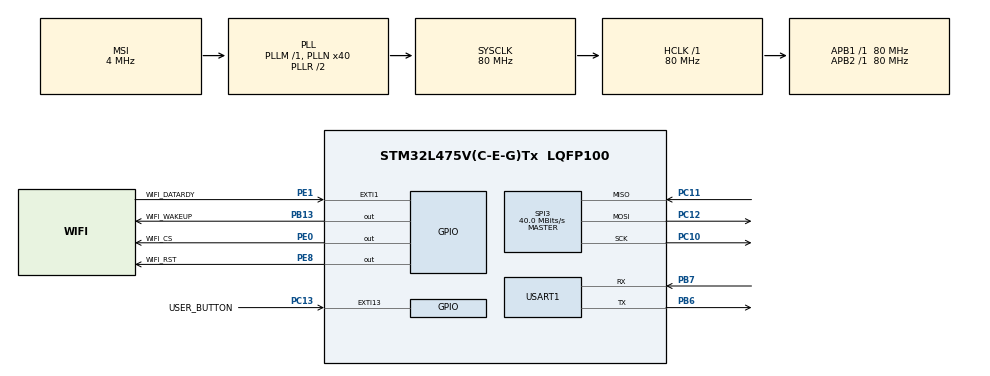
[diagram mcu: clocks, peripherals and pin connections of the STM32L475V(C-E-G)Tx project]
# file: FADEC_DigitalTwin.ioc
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ADC1.Channel-0\#ChannelRegularConversion=ADC_CHANNEL_TEMPSENSOR
ADC1.NbrOfConversionFlag=1
ADC1.OffsetNumber-0\#ChannelRegularConversion=ADC_OFFSET_NONE
ADC1.Rank-0\#ChannelRegularConversion=1
ADC1.SamplingTime-0\#ChannelRegularConversion=ADC_SAMPLETIME_2CYCLES_5
ADC1.master=1
FREERTOS.Tasks01=defaultTask,24,128,StartDefaultTask,Default,NULL,Dynamic,NULL,NULL
FREERTOS.configTOTAL_HEAP_SIZE=30000
Mcu.Family=STM32L4
Mcu.Name=STM32L475V(C-E-G)Tx
Mcu.Package=LQFP100
NVIC.EXTI15_10_IRQn=true\:5\:0\:false\:false\:true\:true\:true\:true\:true
NVIC.EXTI1_IRQn=true\:5\:0\:false\:false\:true\:true\:true\:true\:true
NVIC.PriorityGroup=NVIC_PRIORITYGROUP_4
NVIC.TIM6_DAC_IRQn=true\:15\:0\:false\:false\:true\:false\:false\:true\:true
NVIC.TimeBase=TIM6_DAC_IRQn
NVIC.TimeBaseIP=TIM6
PA13\ (JTMS-SWDIO).Mode=Serial_Wire
PA13\ (JTMS-SWDIO).Signal=SYS_JTMS-SWDIO
PA14\ (JTCK-SWCLK).Mode=Serial_Wire
PA14\ (JTCK-SWCLK).Signal=SYS_JTCK-SWCLK
PB13.GPIO_Label=WIFI_WAKEUP
PB13.Signal=GPIO_Output
PB6.Mode=Asynchronous
PB6.Signal=USART1_TX
PB7.Mode=Asynchronous
PB7.Signal=USART1_RX
PC10.Mode=Full_Duplex_Master
PC10.Signal=SPI3_SCK
PC11.Mode=Full_Duplex_Master
PC11.Signal=SPI3_MISO
PC12.Mode=Full_Duplex_Master
PC12.Signal=SPI3_MOSI
PC13.GPIO_Label=USER_BUTTON
PC13.GPIO_PuPd=GPIO_PULLUP
PC13.Signal=GPXTI13
PE0.GPIO_Label=WIFI_CS
PE0.Signal=GPIO_Output
PE1.GPIO_Label=WIFI_DATARDY
PE1.Signal=GPXTI1
PE8.GPIO_Label=WIFI_RST
PE8.Signal=GPIO_Output
ProjectManager.HeapSize=0x200
ProjectManager.StackSize=0x400
ProjectManager.TargetToolchain=Makefile
RCC.ADCFreq_Value=32000000
RCC.AHBFreq_Value=80000000
RCC.APB1Freq_Value=80000000
RCC.APB1TimFreq_Value=80000000
RCC.APB2Freq_Value=80000000
RCC.APB2TimFreq_Value=80000000
RCC.CortexFreq_Value=80000000
RCC.HCLKFreq_Value=80000000
RCC.HSE_VALUE=8000000
RCC.HSI_VALUE=16000000
RCC.LSE_VALUE=32768
RCC.MSI_VALUE=4000000
RCC.PLLN=40
RCC.PLLSAI1N=16
RCC.SYSCLKFreq_VALUE=80000000
RCC.SYSCLKSource=RCC_SYSCLKSOURCE_PLLCLK
RCC.USBFreq_Value=32000000
RCC.VCOOutputFreq_Value=160000000
SPI3.CalculateBaudRate=40.0 MBits/s
SPI3.Direction=SPI_DIRECTION_2LINES
SPI3.Mode=SPI_MODE_MASTER
SPI3.VirtualType=VM_MASTER
STMicroelectronics.X-CUBE-AI.10.2.0.ActivationBufferSizeList=48
STMicroelectronics.X-CUBE-AI.10.2.0.ActivationBuffers=pool0
STMicroelectronics.X-CUBE-AI.10.2.0.ActivationNames=pool0
STMicroelectronics.X-CUBE-AI.10.2.0.ActivationSizes=AI_NETWORK_DATA_ACTIVATION_1_SIZE
STMicroelectronics.X-CUBE-AI.10.2.0.HeapSize=0x800
STMicroelectronics.X-CUBE-AI.10.2.0.InternalRamActivationBufferMaxSize=AI_NETWORK_DATA_ACTIVATIONS_SIZE
STMicroelectronics.X-CUBE-AI.10.2.0.LatestDirectoryUsed-c59c1189ee8b8a602433e4149aa8c82a0e0ffb5999185788f3c58aca88fcf928=C\:\\Users\\AIO\\Downloads
STMicroelectronics.X-CUBE-AI.10.2.0.MaximumNumberOfInputLayer=1
STMicroelectronics.X-CUBE-AI.10.2.0.MaximumNumberOfOutputLayer=1
STMicroelectronics.X-CUBE-AI.10.2.0.MaximumSizeOfInputLayer=1
STMicroelectronics.X-CUBE-AI.10.2.0.MaximumSizeOfOutputLayer=1
STMicroelectronics.X-CUBE-AI.10.2.0.ModelActualCompression-c59c1189ee8b8a602433e4149aa8c82a0e0ffb5999185788f3c58aca88fcf928=0.0
STMicroelectronics.X-CUBE-AI.10.2.0.ModelCompression-c59c1189ee8b8a602433e4149aa8c82a0e0ffb5999185788f3c58aca88fcf928=None
STMicroelectronics.X-CUBE-AI.10.2.0.ModelFlashOccupation-c59c1189ee8b8a602433e4149aa8c82a0e0ffb5999185788f3c58aca88fcf928=292
STMicroelectronics.X-CUBE-AI.10.2.0.ModelHashList=c59c1189ee8b8a602433e4149aa8c82a0e0ffb5999185788f3c58aca88fcf928
STMicroelectronics.X-CUBE-AI.10.2.0.ModelKind-c59c1189ee8b8a602433e4149aa8c82a0e0ffb5999185788f3c58aca88fcf928=TFLITE
STMicroelectronics.X-CUBE-AI.10.2.0.ModelMacc-c59c1189ee8b8a602433e4149aa8c82a0e0ffb5999185788f3c58aca88fcf928=95
STMicroelectronics.X-CUBE-AI.10.2.0.ModelName-c59c1189ee8b8a602433e4149aa8c82a0e0ffb5999185788f3c58aca88fcf928=network
STMicroelectronics.X-CUBE-AI.10.2.0.ModelNameList=network
STMicroelectronics.X-CUBE-AI.10.2.0.ModelRamOccupation-c59c1189ee8b8a602433e4149aa8c82a0e0ffb5999185788f3c58aca88fcf928=48
STMicroelectronics.X-CUBE-AI.10.2.0.ModelStructureFile-c59c1189ee8b8a602433e4149aa8c82a0e0ffb5999185788f3c58aca88fcf928=C\:\\Users\\AIO\\Downloads\\fadec_edge_ai_model (2).tflite
STMicroelectronics.X-CUBE-AI.10.2.0.ModelType-c59c1189ee8b8a602433e4149aa8c82a0e0ffb5999185788f3c58aca88fcf928=STM32Cube.AI MCU runtime
STMicroelectronics.X-CUBE-AI.10.2.0.ReadyForCodeGeneration=true
STMicroelectronics.X-CUBE-AI.10.2.0.StackSize=0x800
STMicroelectronics.X-CUBE-AI.10.2.0.WorkingBufferStartAddrList=0xFFFFFFFF
STMicroelectronics.X-CUBE-AI.10.2.0.XAaCUBEAaAICcArtificialOoIntelligenceJjCore=true
STMicroelectronics.X-CUBE-AI.10.2.0.copyWeightToRam=false
STMicroelectronics.X-CUBE-AI.10.2.0.customLayerConfigEnabled=false
STMicroelectronics.X-CUBE-AI.10.2.0.noOnnxIoTranspose=false
STMicroelectronics.X-CUBE-AI.10.2.0.useInputAllocation=true
STMicroelectronics.X-CUBE-AI.10.2.0.useOutputAllocation=true
TIM2.Period=100-1
TIM2.Prescaler=80-1
USART1.VirtualMode-Asynchronous=VM_ASYNC
VP_ADC1_TempSens_Input.Mode=IN-TempSens
VP_FREERTOS_VS_CMSIS_V2.Mode=CMSIS_V2
VP_STMicroelectronics.X-CUBE-AI_VS_ArtificialOoIntelligenceJjXAaCUBEAaAI_10.2.0.Mode=ArtificialOoIntelligenceJjXAaCUBEAaAI
VP_SYS_VS_tim6.Mode=TIM6
VP_TIM2_VS_ClockSourceINT.Mode=Internal
board=custom

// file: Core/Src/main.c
/* USER CODE BEGIN Header */
/**
  ******************************************************************************
  * @file           : main.c
  * @brief          : Main program body
  ******************************************************************************
  * @attention
  *
  * Copyright (c) 2026 STMicroelectronics.
  * All rights reserved.
  *
  * This software is licensed under terms that can be found in the LICENSE file
  * in the root directory of this software component.
  * If no LICENSE file comes with this software, it is provided AS-IS.
  *
  ******************************************************************************
  */
/* USER CODE END Header */
#include "main.h"
#include "cmsis_os.h"

/* USER CODE BEGIN Includes */
#include "engine_sim.h"
#include "fadec_core.h"
#include "hardware_io.h"
#include "wifi_mqtt.h"
#include <stdio.h>
/* USER CODE END Includes */

ADC_HandleTypeDef hadc1;

SPI_HandleTypeDef hspi3;

TIM_HandleTypeDef htim2;

UART_HandleTypeDef huart1;

/* Definitions for defaultTask */
osThreadId_t defaultTaskHandle;
const osThreadAttr_t defaultTask_attributes = {
  .name = "defaultTask",
  .stack_size = 128 * 4,
  .priority = (osPriority_t) osPriorityNormal,
};

void SystemClock_Config(void);
static void MX_GPIO_Init(void);
static void MX_ADC1_Init(void);
static void MX_TIM2_Init(void);
static void MX_SPI3_Init(void);
static void MX_USART1_UART_Init(void);
void StartDefaultTask(void *argument);

/* USER CODE BEGIN PFP */
void StartSimTask(void *argument);
void StartFadecTask(void *argument);
/* USER CODE END PFP */

int main(void)
{

  /* MCU Configuration--------------------------------------------------------*/

  /* Reset of all peripherals, Initializes the Flash interface and the Systick. */
  HAL_Init();

  /* Configure the system clock */
  SystemClock_Config();

  /* Initialize all configured peripherals */
  MX_GPIO_Init();
  MX_ADC1_Init();
  MX_TIM2_Init();
  MX_SPI3_Init();
  MX_USART1_UART_Init();
  /* USER CODE BEGIN 2 */
  // 1. Démarrage des périphériques physiques (ADC, Timer PWM)
  HardwareIO_Init();

  // 2. Initialisation des modèles mathématiques
  EngineSim_Init();
  Fadec_Init();

  // Simulation de démarrage pilote pour nos tests
  myEngine.target_thrust = 50.0f; // On demande 50% de puissance
  myEngine.is_running = 1;        // On allume le moteur
  /* USER CODE END 2 */

  /* Init scheduler */
  osKernelInitialize();

  /* Create the thread(s) */
  /* creation of defaultTask */
  defaultTaskHandle = osThreadNew(StartDefaultTask, NULL, &defaultTask_attributes);

  /* USER CODE BEGIN RTOS_THREADS */
  /* add threads, ... */
  // On crée la tâche Wi-Fi avec une priorité plus BASSE que la physique
  const osThreadAttr_t mqttTask_attributes = {
  .name = "MqttTask",
  .stack_size = 512 * 4, // Le Wi-Fi consomme beaucoup de RAM (chaînes de caractères)
  .priority = (osPriority_t) osPriorityLow,
  };
  osThreadNew(StartMqttTask, NULL, &mqttTask_attributes);

  const osThreadAttr_t simTask_attributes = {
  .name = "SimTask",
  .stack_size = 128 * 4,
  .priority = (osPriority_t) osPriorityHigh,
  };
  osThreadNew(StartSimTask, NULL, &simTask_attributes);

  const osThreadAttr_t fadecTask_attributes = {
  .name = "FadecTask",
  .stack_size = 128 * 4,
  .priority = (osPriority_t) osPriorityNormal,
  };
  osThreadNew(StartFadecTask, NULL, &fadecTask_attributes);
  /* USER CODE END RTOS_THREADS */

  /* Start scheduler */
  osKernelStart();

  /* We should never get here as control is now taken by the scheduler */

  /* Infinite loop */
  while (1)
  {

  }
}

void SystemClock_Config(void)
{
  RCC_OscInitTypeDef RCC_OscInitStruct = {0};
  RCC_ClkInitTypeDef RCC_ClkInitStruct = {0};

  /** Configure the main internal regulator output voltage
  */
  if (HAL_PWREx_ControlVoltageScaling(PWR_REGULATOR_VOLTAGE_SCALE1) != HAL_OK)
  {
    Error_Handler();
  }

  /** Initializes the RCC Oscillators according to the specified parameters
  * in the RCC_OscInitTypeDef structure.
  */
  RCC_OscInitStruct.OscillatorType = RCC_OSCILLATORTYPE_MSI;
  RCC_OscInitStruct.MSIState = RCC_MSI_ON;
  RCC_OscInitStruct.MSICalibrationValue = 0;
  RCC_OscInitStruct.MSIClockRange = RCC_MSIRANGE_6;
  RCC_OscInitStruct.PLL.PLLState = RCC_PLL_ON;
  RCC_OscInitStruct.PLL.PLLSource = RCC_PLLSOURCE_MSI;
  RCC_OscInitStruct.PLL.PLLM = 1;
  RCC_OscInitStruct.PLL.PLLN = 40;
  RCC_OscInitStruct.PLL.PLLP = RCC_PLLP_DIV7;
  RCC_OscInitStruct.PLL.PLLQ = RCC_PLLQ_DIV2;
  RCC_OscInitStruct.PLL.PLLR = RCC_PLLR_DIV2;
  if (HAL_RCC_OscConfig(&RCC_OscInitStruct) != HAL_OK)
  {
    Error_Handler();
  }

  /** Initializes the CPU, AHB and APB buses clocks
  */
  RCC_ClkInitStruct.ClockType = RCC_CLOCKTYPE_HCLK|RCC_CLOCKTYPE_SYSCLK
                              |RCC_CLOCKTYPE_PCLK1|RCC_CLOCKTYPE_PCLK2;
  RCC_ClkInitStruct.SYSCLKSource = RCC_SYSCLKSOURCE_PLLCLK;
  RCC_ClkInitStruct.AHBCLKDivider = RCC_SYSCLK_DIV1;
  RCC_ClkInitStruct.APB1CLKDivider = RCC_HCLK_DIV1;
  RCC_ClkInitStruct.APB2CLKDivider = RCC_HCLK_DIV1;

  if (HAL_RCC_ClockConfig(&RCC_ClkInitStruct, FLASH_LATENCY_4) != HAL_OK)
  {
    Error_Handler();
  }
}

static void MX_ADC1_Init(void)
{

  ADC_MultiModeTypeDef multimode = {0};
  ADC_ChannelConfTypeDef sConfig = {0};

  /** Common config
  */
  hadc1.Instance = ADC1;
  hadc1.Init.ClockPrescaler = ADC_CLOCK_ASYNC_DIV1;
  hadc1.Init.Resolution = ADC_RESOLUTION_12B;
  hadc1.Init.DataAlign = ADC_DATAALIGN_RIGHT;
  hadc1.Init.ScanConvMode = ADC_SCAN_DISABLE;
  hadc1.Init.EOCSelection = ADC_EOC_SINGLE_CONV;
  hadc1.Init.LowPowerAutoWait = DISABLE;
  hadc1.Init.ContinuousConvMode = DISABLE;
  hadc1.Init.NbrOfConversion = 1;
  hadc1.Init.DiscontinuousConvMode = DISABLE;
  hadc1.Init.ExternalTrigConv = ADC_SOFTWARE_START;
  hadc1.Init.ExternalTrigConvEdge = ADC_EXTERNALTRIGCONVEDGE_NONE;
  hadc1.Init.DMAContinuousRequests = DISABLE;
  hadc1.Init.Overrun = ADC_OVR_DATA_PRESERVED;
  hadc1.Init.OversamplingMode = DISABLE;
  if (HAL_ADC_Init(&hadc1) != HAL_OK)
  {
    Error_Handler();
  }

  /** Configure the ADC multi-mode
  */
  multimode.Mode = ADC_MODE_INDEPENDENT;
  if (HAL_ADCEx_MultiModeConfigChannel(&hadc1, &multimode) != HAL_OK)
  {
    Error_Handler();
  }

  /** Configure Regular Channel
  */
  sConfig.Channel = ADC_CHANNEL_TEMPSENSOR;
  sConfig.Rank = ADC_REGULAR_RANK_1;
  sConfig.SamplingTime = ADC_SAMPLETIME_2CYCLES_5;
  sConfig.SingleDiff = ADC_SINGLE_ENDED;
  sConfig.OffsetNumber = ADC_OFFSET_NONE;
  sConfig.Offset = 0;
  if (HAL_ADC_ConfigChannel(&hadc1, &sConfig) != HAL_OK)
  {
    Error_Handler();
  }

}

static void MX_SPI3_Init(void)
{

  /* SPI3 parameter configuration*/
  hspi3.Instance = SPI3;
  hspi3.Init.Mode = SPI_MODE_MASTER;
  hspi3.Init.Direction = SPI_DIRECTION_2LINES;
  hspi3.Init.DataSize = SPI_DATASIZE_4BIT;
  hspi3.Init.CLKPolarity = SPI_POLARITY_LOW;
  hspi3.Init.CLKPhase = SPI_PHASE_1EDGE;
  hspi3.Init.NSS = SPI_NSS_SOFT;
  hspi3.Init.BaudRatePrescaler = SPI_BAUDRATEPRESCALER_2;
  hspi3.Init.FirstBit = SPI_FIRSTBIT_MSB;
  hspi3.Init.TIMode = SPI_TIMODE_DISABLE;
  hspi3.Init.CRCCalculation = SPI_CRCCALCULATION_DISABLE;
  hspi3.Init.CRCPolynomial = 7;
  hspi3.Init.CRCLength = SPI_CRC_LENGTH_DATASIZE;
  hspi3.Init.NSSPMode = SPI_NSS_PULSE_ENABLE;
  if (HAL_SPI_Init(&hspi3) != HAL_OK)
  {
    Error_Handler();
  }

}

static void MX_TIM2_Init(void)
{

  TIM_ClockConfigTypeDef sClockSourceConfig = {0};
  TIM_MasterConfigTypeDef sMasterConfig = {0};

  htim2.Instance = TIM2;
  htim2.Init.Prescaler = 80-1;
  htim2.Init.CounterMode = TIM_COUNTERMODE_UP;
  htim2.Init.Period = 100-1;
  htim2.Init.ClockDivision = TIM_CLOCKDIVISION_DIV1;
  htim2.Init.AutoReloadPreload = TIM_AUTORELOAD_PRELOAD_DISABLE;
  if (HAL_TIM_Base_Init(&htim2) != HAL_OK)
  {
    Error_Handler();
  }
  sClockSourceConfig.ClockSource = TIM_CLOCKSOURCE_INTERNAL;
  if (HAL_TIM_ConfigClockSource(&htim2, &sClockSourceConfig) != HAL_OK)
  {
    Error_Handler();
  }
  sMasterConfig.MasterOutputTrigger = TIM_TRGO_RESET;
  sMasterConfig.MasterSlaveMode = TIM_MASTERSLAVEMODE_DISABLE;
  if (HAL_TIMEx_MasterConfigSynchronization(&htim2, &sMasterConfig) != HAL_OK)
  {
    Error_Handler();
  }

}

static void MX_USART1_UART_Init(void)
{

  huart1.Instance = USART1;
  huart1.Init.BaudRate = 115200;
  huart1.Init.WordLength = UART_WORDLENGTH_8B;
  huart1.Init.StopBits = UART_STOPBITS_1;
  huart1.Init.Parity = UART_PARITY_NONE;
  huart1.Init.Mode = UART_MODE_TX_RX;
  huart1.Init.HwFlowCtl = UART_HWCONTROL_NONE;
  huart1.Init.OverSampling = UART_OVERSAMPLING_16;
  huart1.Init.OneBitSampling = UART_ONE_BIT_SAMPLE_DISABLE;
  huart1.AdvancedInit.AdvFeatureInit = UART_ADVFEATURE_NO_INIT;
  if (HAL_UART_Init(&huart1) != HAL_OK)
  {
    Error_Handler();
  }

}

static void MX_GPIO_Init(void)
{
  GPIO_InitTypeDef GPIO_InitStruct = {0};

  /* GPIO Ports Clock Enable */
  __HAL_RCC_GPIOC_CLK_ENABLE();
  __HAL_RCC_GPIOE_CLK_ENABLE();
  __HAL_RCC_GPIOB_CLK_ENABLE();
  __HAL_RCC_GPIOA_CLK_ENABLE();

  /*Configure GPIO pin Output Level */
  HAL_GPIO_WritePin(GPIOE, WIFI_RST_Pin|WIFI_CS_Pin, GPIO_PIN_RESET);

  /*Configure GPIO pin Output Level */
  HAL_GPIO_WritePin(WIFI_WAKEUP_GPIO_Port, WIFI_WAKEUP_Pin, GPIO_PIN_RESET);

  /*Configure GPIO pin : USER_BUTTON_Pin */
  GPIO_InitStruct.Pin = USER_BUTTON_Pin;
  GPIO_InitStruct.Mode = GPIO_MODE_IT_RISING;
  GPIO_InitStruct.Pull = GPIO_PULLUP;
  HAL_GPIO_Init(USER_BUTTON_GPIO_Port, &GPIO_InitStruct);

  /*Configure GPIO pins : WIFI_RST_Pin WIFI_CS_Pin */
  GPIO_InitStruct.Pin = WIFI_RST_Pin|WIFI_CS_Pin;
  GPIO_InitStruct.Mode = GPIO_MODE_OUTPUT_PP;
  GPIO_InitStruct.Pull = GPIO_NOPULL;
  GPIO_InitStruct.Speed = GPIO_SPEED_FREQ_LOW;
  HAL_GPIO_Init(GPIOE, &GPIO_InitStruct);

  /*Configure GPIO pin : WIFI_WAKEUP_Pin */
  GPIO_InitStruct.Pin = WIFI_WAKEUP_Pin;
  GPIO_InitStruct.Mode = GPIO_MODE_OUTPUT_PP;
  GPIO_InitStruct.Pull = GPIO_NOPULL;
  GPIO_InitStruct.Speed = GPIO_SPEED_FREQ_LOW;
  HAL_GPIO_Init(WIFI_WAKEUP_GPIO_Port, &GPIO_InitStruct);

  /*Configure GPIO pin : WIFI_DATARDY_Pin */
  GPIO_InitStruct.Pin = WIFI_DATARDY_Pin;
  GPIO_InitStruct.Mode = GPIO_MODE_IT_RISING;
  GPIO_InitStruct.Pull = GPIO_NOPULL;
  HAL_GPIO_Init(WIFI_DATARDY_GPIO_Port, &GPIO_InitStruct);

  /* EXTI interrupt init*/
  HAL_NVIC_SetPriority(EXTI1_IRQn, 5, 0);
  HAL_NVIC_EnableIRQ(EXTI1_IRQn);

  HAL_NVIC_SetPriority(EXTI15_10_IRQn, 5, 0);
  HAL_NVIC_EnableIRQ(EXTI15_10_IRQn);

}

/* USER CODE BEGIN 4 */
// --- TÂCHE 1 : LE MONDE PHYSIQUE (Tourne à 100Hz) ---

int _write(int file, char *ptr, int len)
{
    // On envoie le texte caractère par caractère sur l'UART 1
    HAL_UART_Transmit(&huart1, (uint8_t*)ptr, len, HAL_MAX_DELAY);
    return len;
}

void StartSimTask(void *argument)
{
  for(;;)
  {
    EngineSim_Update();
    osDelay(10); // Pause de 10ms
  }
}

// --- TÂCHE 2 : LE CONTRÔLEUR PID (Tourne à 50Hz) ---
void StartFadecTask(void *argument)
{
  for(;;)
  {
    // Lecture des capteurs réels
    myEngine.ambient_temp = HardwareIO_ReadAmbientTemp();

    // Sécurité : Vérification de l'arrêt d'urgence (Bouton Bleu)
    if (HardwareIO_IsEmergencyStopRequested())
    {
        myEngine.is_running = 0;
        myEngine.target_thrust = 0.0f;
    }

    // Boucle de contrôle si le moteur est censé tourner
    if (myEngine.is_running)
    {
        // Conversion de la poussée (0-100%) en consigne RPM (0-15000 RPM)
        float target_rpm = myEngine.target_thrust * 150.0f;

        // Le cerveau PID calcule la dose de carburant
        myEngine.fuel_flow = Fadec_ComputeFuel(target_rpm, myEngine.current_rpm);

        // Action physique : On ouvre la vraie vanne via le Timer PWM
        HardwareIO_SetFuelValve(myEngine.fuel_flow);
    }
    else
    {
        // Coupe physiquement l'arrivée de carburant
        myEngine.fuel_flow = 0.0f;
        HardwareIO_SetFuelValve(0.0f);
    }

    osDelay(20); // Pause de 20ms
  }
}
/* USER CODE END 4 */

void StartDefaultTask(void *argument)
{
  for(;;)
  {
    osDelay(1);
  }
}

void HAL_TIM_PeriodElapsedCallback(TIM_HandleTypeDef *htim)
{
  if (htim->Instance == TIM6)
  {
    HAL_IncTick();
  }
}

void Error_Handler(void)
{
  __disable_irq();
  while (1)
  {
  }
}
